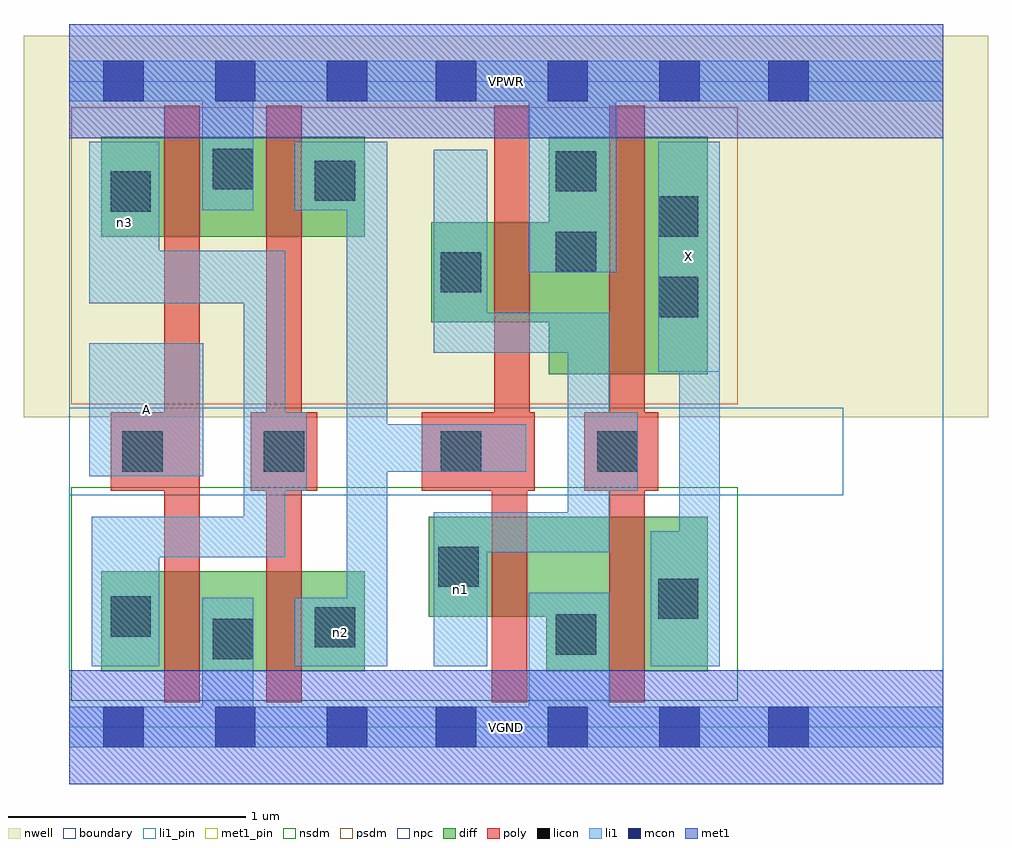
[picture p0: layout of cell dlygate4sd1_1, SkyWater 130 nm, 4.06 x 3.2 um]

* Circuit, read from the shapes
.subckt dlygate4sd1_1 A VGND VPWR X n1 n2 n3
XM1 VGND A n3 VSUBS sky130_fd_pr__nfet_01v8 w=0.42 l=0.15
XM2 n2 n3 VGND VSUBS sky130_fd_pr__nfet_01v8 w=0.42 l=0.15
XM3 VGND n2 n1 VSUBS sky130_fd_pr__nfet_01v8 w=0.42 l=0.15
XM4 X n1 VGND VSUBS sky130_fd_pr__nfet_01v8 w=0.65 l=0.15
XM5 VPWR A n3 n4 sky130_fd_pr__pfet_01v8 w=0.42 l=0.15
XM6 n2 n3 VPWR n4 sky130_fd_pr__pfet_01v8 w=0.42 l=0.15
XM7 VPWR n2 n1 n4 sky130_fd_pr__pfet_01v8 w=0.42 l=0.15
XM8 X n1 VPWR n4 sky130_fd_pr__pfet_01v8 w=1 l=0.15
.ends

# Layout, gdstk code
import gdstk
lib = gdstk.Library(unit=1e-6, precision=1e-09)
def R(c, l, rs):  # rectangles x0, y0, x1, y1
    for r in rs: c.add(gdstk.rectangle(r[:2], r[2:], *l))
def A(c, l, x, y, w, h, nx, ny, dx, dy):  # array of equal rectangles
    R(c, l, [(x+i*dx, y+j*dy, x+i*dx+w, y+j*dy+h) for i in range(nx) for j in range(ny)])
nwell = (64, 20)
diff = (65, 20)
poly = (66, 20)
licon = (66, 44)
li1_pin = (67, 16)
li1 = (67, 20)
mcon = (67, 44)
met1_pin = (68, 16)
met1 = (68, 20)
nsdm = (93, 44)
psdm = (94, 20)
npc = (95, 20)
boundary = (235, 4)

dlygate4sd1_1 = lib.new_cell('dlygate4sd1_1')
R(dlygate4sd1_1, nwell, [(-0.19,1.305,3.87,2.91), (0,1.305,3.68,2.91)])
R(dlygate4sd1_1, diff, [(0.135,0.235,1.245,0.655), (2.01,0.235,2.69,0.885), (1.515,0.465,2.69,0.885), (2.02,1.485,2.69,2.485), (1.525,1.705,2.69,2.125), (0.135,2.065,1.245,2.485)])
R(dlygate4sd1_1, poly, [(0.4,0.105,0.55,2.615), (0.83,0.105,0.98,2.615), (1.78,0.105,1.93,1.325), (2.275,0.105,2.425,2.615), (0.175,0.995,0.55,1.325), (0.765,0.995,1.045,1.325), (1.485,0.995,1.96,1.325), (1.79,0.995,1.94,2.615), (2.17,0.995,2.48,1.325)])
R(dlygate4sd1_1, licon, [(0.605,0.285,0.775,0.455), (2.05,0.305,2.22,0.475), (1.035,0.335,1.205,0.505), (0.175,0.38,0.345,0.55), (2.48,0.455,2.65,0.625), (1.555,0.59,1.725,0.76), (0.225,1.075,0.395,1.245), (0.82,1.075,0.99,1.245), (1.565,1.075,1.735,1.245), (2.225,1.075,2.395,1.245), (2.48,1.725,2.65,1.895), (1.565,1.83,1.735,2), (2.05,1.915,2.22,2.085), (2.48,2.065,2.65,2.235), (0.175,2.17,0.345,2.34), (1.035,2.215,1.205,2.385), (2.05,2.255,2.22,2.425), (0.605,2.265,0.775,2.435)])
R(dlygate4sd1_1, li1_pin, [(0.085,1.055,0.565,1.615), (2.48,1.495,2.74,2.465)])
R(dlygate4sd1_1, li1, [(0,-0.085,3.68,0.085), (0.56,-0.085,0.775,0.545), (1.935,-0.085,2.275,0.565), (0.095,0.255,0.38,0.885), (0.95,0.255,1.34,0.545), (1.17,0.255,1.34,2.465), (1.535,0.255,1.76,0.905), (2.45,0.255,2.74,0.825), (2.57,0.255,2.74,2.465), (0.095,0.715,0.91,0.885), (0.735,0.715,0.91,2.005), (1.535,0.735,2.275,0.905), (2.1,0.735,2.275,1.745), (0.735,0.995,1,1.325), (2.1,0.995,2.395,1.325), (0.085,1.055,0.565,1.615), (1.17,1.075,1.925,1.275), (2.48,1.495,2.74,2.465), (1.535,1.575,2.275,1.745), (1.535,1.575,1.76,2.43), (0.085,1.785,0.38,2.465), (0.085,1.785,0.91,2.005), (1.935,1.915,2.305,2.805), (0.56,2.175,0.775,2.805), (0.95,2.175,1.34,2.465), (0,2.635,3.68,2.805)])
A(dlygate4sd1_1, mcon, 0.145, -0.085, 0.17, 0.17, 3, 2, 0.47, 2.72)
A(dlygate4sd1_1, mcon, 1.545, -0.085, 0.17, 0.17, 3, 2, 0.47, 2.72)
R(dlygate4sd1_1, mcon, [(2.945,-0.085,3.115,0.085), (2.945,2.635,3.115,2.805)])
R(dlygate4sd1_1, met1_pin, [(0,-0.24,3.68,0.24), (0,2.48,3.68,2.96)])
R(dlygate4sd1_1, met1, [(0,-0.24,3.68,0.24), (0,2.48,3.68,2.96)])
R(dlygate4sd1_1, nsdm, [(0.01,0.11,2.815,1.01)])
R(dlygate4sd1_1, psdm, [(0.01,1.36,2.815,2.61)])
R(dlygate4sd1_1, npc, [(0,0.975,3.26,1.345)])
R(dlygate4sd1_1, boundary, [(0,0,3.68,2.72)])
dlygate4sd1_1.add(gdstk.Label('A', (0.325,1.335), layer=67, texttype=5))
dlygate4sd1_1.add(gdstk.Label('X', (2.61,1.98), layer=67, texttype=5))
dlygate4sd1_1.add(gdstk.Label('n1', (1.647,0.58), layer=67, texttype=5))
dlygate4sd1_1.add(gdstk.Label('n3', (0.232,2.125), layer=67, texttype=5))
dlygate4sd1_1.add(gdstk.Label('n2', (1.145,0.4), layer=67, texttype=5))
dlygate4sd1_1.add(gdstk.Label('VPWR', (1.84,2.72), layer=68, texttype=5))
dlygate4sd1_1.add(gdstk.Label('VGND', (1.84,0), layer=68, texttype=5))
dlygate4sd1_1.add(gdstk.Label('A', (0.325,1.335), layer=67, texttype=16))
dlygate4sd1_1.add(gdstk.Label('X', (2.61,1.98), layer=67, texttype=16))
dlygate4sd1_1.add(gdstk.Label('VPWR', (1.84,2.72), layer=68, texttype=16))
dlygate4sd1_1.add(gdstk.Label('VGND', (1.84,0), layer=68, texttype=16))

lib.write_gds('dlygate4sd1_1.gds')
